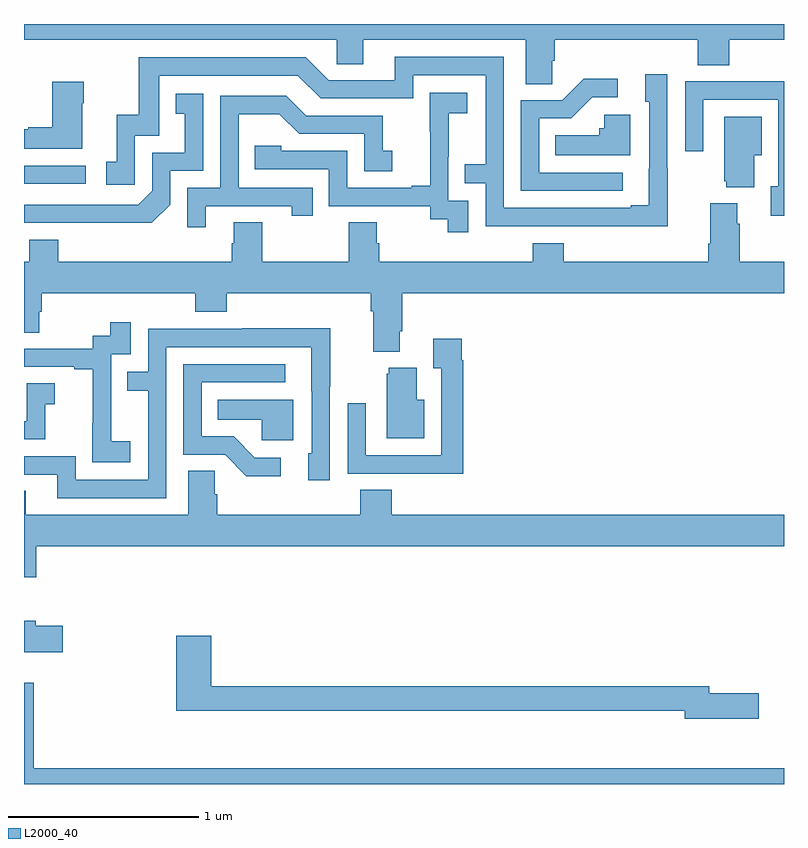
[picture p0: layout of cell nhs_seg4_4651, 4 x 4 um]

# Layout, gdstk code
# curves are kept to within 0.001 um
import gdstk
lib = gdstk.Library(unit=1e-6, precision=1e-09)
def R(c, l, rs):  # rectangles x0, y0, x1, y1
    for r in rs: c.add(gdstk.rectangle(r[:2], r[2:], *l))
def P(c, l, *ps):  # polygons
    for p in ps: c.add(gdstk.Polygon(p, *l))
L2000_40 = (2000, 40)

nhs_seg4_4651 = lib.new_cell('nhs_seg4_4651')
R(nhs_seg4_4651, L2000_40, [(361,800.058,361.324,800.154)])
P(nhs_seg4_4651, L2000_40, [(363.78,800.707),(363.794,800.707),(363.794,800.816),(364.547,800.816),(364.547,800.683),(364.712,800.683),(364.712,800.816),(365,800.816),(365,800.9),(361,800.9),(361,800.816),(362.646,800.816),(362.646,800.689),(362.785,800.689),(362.785,800.816),(363.641,800.816),(363.641,800.584),(363.78,800.584)],
  [(364.389,800.141),(364.386,800.141),(364.386,800.635),(364.271,800.635),(364.271,800.49),(364.29,800.49),(364.289,799.945),(364.193,799.945),(364.193,799.932),(363.525,799.932),(363.525,800.727),(362.951,800.727),(362.951,800.604),(362.604,800.604),(362.484,800.724),(361.605,800.724),(361.605,800.422),(361.487,800.422),(361.487,800.175),(361.434,800.175),(361.434,800.055),(361.584,800.055),(361.584,800.313),(361.713,800.313),(361.713,800.628),(362.442,800.628),(362.562,800.508),(363.048,800.508),(363.048,800.631),(363.429,800.631),(363.429,800.162),(363.319,800.162),(363.319,800.061),(363.429,800.061),(363.429,799.836),(364.389,799.835)],
  [(364.15,800.118),(363.711,800.118),(363.711,800.403),(363.88,800.403),(363.991,800.514),(364.126,800.514),(364.126,800.612),(363.947,800.612),(363.834,800.499),(363.615,800.499),(363.615,800.022),(364.15,800.022)],
  [(365,800.6),(364.795,800.6),(364.795,800.598),(364.479,800.598),(364.479,800.229),(364.575,800.229),(364.575,800.502),(364.971,800.502),(364.971,800.046),(364.931,800.046),(364.931,799.89),(365,799.89)],
  [(361.306,800.483),(361.314,800.483),(361.314,800.596),(361.148,800.596),(361.148,800.357),(361.022,800.357),(361.022,800.347),(361,800.347),(361,800.243),(361.306,800.243)],
  [(363.339,799.971),(363.234,799.971),(363.234,800.201),(363.236,800.201),(363.236,800.429),(363.334,800.429),(363.334,800.539),(363.136,800.539),(363.136,800.333),(363.137,800.333),(363.137,800.05),(363.041,800.05),(363.041,800.037),(362.7,800.037),(362.7,800.232),(362.355,800.232),(362.355,800.259),(362.215,800.259),(362.215,800.136),(362.604,800.136),(362.604,799.941),(363.138,799.941),(363.138,799.873),(363.231,799.873),(363.231,799.803),(363.339,799.803)],
  [(361.77,799.95),(361.77,800.127),(361.944,800.127),(361.944,800.533),(361.798,800.533),(361.798,800.427),(361.847,800.427),(361.847,800.223),(361.674,800.223),(361.674,800.022),(361.602,799.95),(361,799.95),(361,799.854),(361.672,799.853)],
  [(361.957,799.941),(362.408,799.941),(362.408,799.89),(362.519,799.89),(362.519,800.037),(362.13,800.037),(362.13,800.426),(362.344,800.426),(362.448,800.322),(362.79,800.322),(362.79,800.124),(362.938,800.124),(362.938,800.233),(362.889,800.233),(362.889,800.418),(362.485,800.418),(362.38,800.523),(362.034,800.523),(362.034,800.037),(361.86,800.037),(361.86,799.83),(361.957,799.83)],
  [(364.192,800.422),(364.053,800.422),(364.053,800.352),(364.027,800.352),(364.027,800.314),(363.796,800.314),(363.796,800.21),(364.192,800.21)],
  [(364.843,800.21),(364.882,800.21),(364.882,800.413),(364.685,800.413),(364.685,800.073),(364.697,800.073),(364.697,800.042),(364.843,800.042)],
  [(365,799.648),(364.766,799.648),(364.766,799.85),(364.753,799.85),(364.753,799.957),(364.613,799.957),(364.613,799.744),(364.601,799.744),(364.601,799.648),(363.842,799.648),(363.842,799.747),(363.677,799.747),(363.677,799.648),(362.87,799.648),(362.87,799.746),(362.857,799.746),(362.857,799.856),(362.71,799.856),(362.71,799.648),(362.253,799.648),(362.253,799.856),(362.105,799.856),(362.105,799.746),(362.093,799.746),(362.093,799.648),(361.181,799.648),(361.181,799.765),(361.028,799.765),(361.028,799.648),(361,799.648),(361,799.276),(361.081,799.276),(361.081,799.386),(361.094,799.386),(361.094,799.484),(361.901,799.484),(361.901,799.385),(362.066,799.385),(362.066,799.484),(362.825,799.484),(362.825,799.388),(362.837,799.388),(362.837,799.175),(362.977,799.175),(362.977,799.282),(362.99,799.282),(362.99,799.484),(365,799.484)],
  [(361.558,798.703),(361.46,798.703),(361.46,798.932),(361.458,798.932),(361.458,799.161),(361.563,799.161),(361.563,799.33),(361.455,799.33),(361.455,799.26),(361.362,799.26),(361.362,799.191),(361,799.191),(361,799.095),(361.265,799.095),(361.265,799.083),(361.361,799.083),(361.361,798.799),(361.36,798.799),(361.36,798.593),(361.558,798.593)],
  [(361.749,799.2),(362.513,799.2),(362.513,798.967),(362.514,798.967),(362.514,798.642),(362.495,798.642),(362.495,798.498),(362.61,798.498),(362.61,798.991),(362.613,798.991),(362.613,799.298),(362.149,799.298),(362.149,799.296),(361.653,799.296),(361.653,799.071),(361.543,799.071),(361.543,798.97),(361.653,798.97),(361.653,798.501),(361.272,798.501),(361.272,798.624),(361,798.624),(361,798.528),(361.175,798.528),(361.175,798.405),(361.749,798.405)],
  [(363.311,799.13),(363.304,799.13),(363.304,799.243),(363.155,799.243),(363.155,799.087),(363.195,799.087),(363.195,798.63),(362.799,798.63),(362.799,798.904),(362.703,798.904),(362.703,798.534),(363.019,798.534),(363.019,798.533),(363.311,798.533)],
  [(362.35,798.618),(362.215,798.618),(362.104,798.729),(361.935,798.729),(361.935,799.014),(362.374,799.014),(362.374,799.11),(361.839,799.11),(361.839,798.633),(362.058,798.633),(362.171,798.521),(362.35,798.521)],
  [(363.106,798.922),(363.067,798.922),(363.067,799.09),(362.921,799.09),(362.921,799.059),(362.909,799.059),(362.909,798.719),(363.106,798.719)],
  [(361.113,798.899),(361.162,798.899),(361.162,799.009),(361.014,799.009),(361.014,798.81),(361,798.81),(361,798.714),(361.113,798.714)],
  [(362.416,798.922),(362.02,798.922),(362.02,798.818),(362.251,798.818),(362.251,798.71),(362.416,798.71)],
  [(361.064,798.152),(365,798.152),(365,798.316),(362.936,798.316),(362.936,798.449),(362.771,798.449),(362.771,798.316),(362.018,798.316),(362.018,798.425),(362.004,798.425),(362.004,798.548),(361.865,798.548),(361.865,798.316),(361.009,798.316),(361.009,798.443),(361,798.443),(361,797.988),(361.064,797.988)],
  [(361.204,797.734),(361.062,797.734),(361.062,797.758),(361,797.758),(361,797.594),(361.204,797.594)],
  [(364.867,797.378),(364.606,797.378),(364.606,797.414),(361.985,797.414),(361.985,797.68),(361.802,797.68),(361.802,797.286),(364.478,797.286),(364.478,797.243),(364.867,797.243)],
  [(365,796.984),(361.051,796.984),(361.051,797.434),(361,797.434),(361,796.9),(365,796.9)])

lib.write_gds('nhs_seg4_4651.gds')
